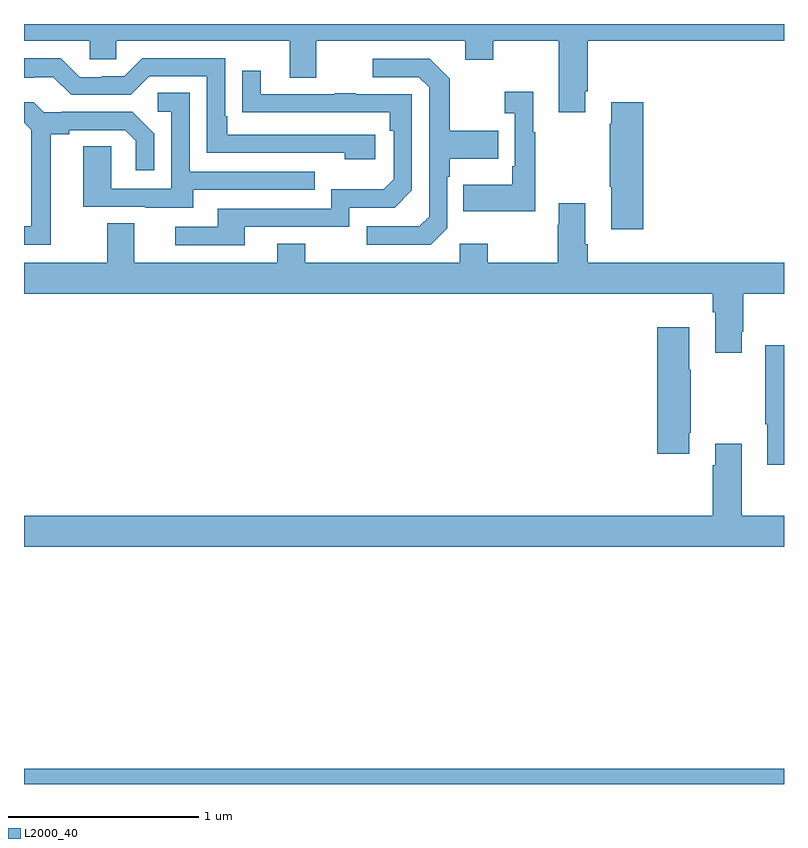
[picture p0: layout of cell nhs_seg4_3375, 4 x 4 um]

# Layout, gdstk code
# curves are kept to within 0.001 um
import gdstk
lib = gdstk.Library(unit=1e-6, precision=1e-09)
def R(c, l, rs):  # rectangles x0, y0, x1, y1
    for r in rs: c.add(gdstk.rectangle(r[:2], r[2:], *l))
def P(c, l, *ps):  # polygons
    for p in ps: c.add(gdstk.Polygon(p, *l))
L2000_40 = (2000, 40)

nhs_seg4_3375 = lib.new_cell('nhs_seg4_3375')
R(nhs_seg4_3375, L2000_40, [(289,800.9,293,800.98)])
P(nhs_seg4_3375, L2000_40, [(291.955,804.547),(291.968,804.547),(291.968,804.812),(293,804.812),(293,804.9),(289,804.9),(289,804.812),(289.347,804.812),(289.347,804.714),(289.485,804.714),(289.485,804.812),(290.399,804.812),(290.399,804.618),(290.539,804.618),(290.539,804.812),(291.323,804.812),(291.323,804.713),(291.471,804.713),(291.471,804.812),(291.815,804.812),(291.815,804.435),(291.955,804.435)],
  [(290.848,804.318),(290.071,804.318),(290.071,804.415),(290.058,804.415),(290.058,804.72),(289.623,804.72),(289.527,804.624),(289.409,804.624),(289.409,804.621),(289.293,804.621),(289.193,804.721),(289,804.721),(289,804.617),(289.055,804.617),(289.055,804.621),(289.155,804.621),(289.248,804.528),(289.563,804.528),(289.659,804.624),(289.962,804.624),(289.962,804.222),(290.687,804.222),(290.687,804.188),(290.848,804.188)],
  [(291.228,803.826),(291.228,804.095),(291.241,804.095),(291.241,804.191),(291.497,804.191),(291.497,804.339),(291.241,804.339),(291.241,804.611),(291.135,804.717),(290.835,804.717),(290.835,804.621),(291.078,804.621),(291.132,804.567),(291.132,803.886),(291.081,803.835),(290.805,803.835),(290.805,803.739),(291.141,803.739)],
  [(290.161,803.832),(290.712,803.832),(290.712,803.934),(290.952,803.934),(291.042,804.024),(291.042,804.531),(290.747,804.531),(290.747,804.536),(290.635,804.536),(290.635,804.531),(290.245,804.531),(290.245,804.655),(290.149,804.655),(290.149,804.436),(290.926,804.435),(290.926,804.338),(290.946,804.338),(290.946,804.084),(290.893,804.031),(290.616,804.031),(290.616,803.928),(290.021,803.928),(290.021,803.832),(289.797,803.832),(289.797,803.736),(290.161,803.736)],
  [(291.691,804.331),(291.679,804.331),(291.679,804.544),(291.531,804.544),(291.531,804.431),(291.582,804.431),(291.582,804.151),(291.57,804.151),(291.57,804.055),(291.313,804.055),(291.313,803.915),(291.691,803.915)],
  [(289.891,804.027),(290.531,804.027),(290.531,804.123),(289.872,804.123),(289.872,804.539),(289.704,804.539),(289.704,804.438),(289.776,804.438),(289.776,804.033),(289.458,804.033),(289.458,804.257),(289.313,804.257),(289.313,803.937),(289.637,803.937),(289.637,803.933),(289.891,803.933)],
  [(289.141,804.32),(289.237,804.32),(289.237,804.342),(289.532,804.342),(289.589,804.285),(289.589,804.129),(289.686,804.129),(289.686,804.322),(289.57,804.438),(289.198,804.438),(289.198,804.435),(289.104,804.435),(289.052,804.487),(289,804.487),(289,804.38),(289.037,804.343),(289.037,803.835),(289,803.835),(289,803.739),(289.141,803.739)],
  [(292.259,804.487),(292.091,804.487),(292.091,804.374),(292.084,804.374),(292.084,804.043),(292.091,804.043),(292.091,803.82),(292.259,803.82)],
  [(292.777,803.281),(292.785,803.281),(292.785,803.48),(293,803.48),(293,803.644),(291.968,803.644),(291.968,803.74),(291.955,803.74),(291.955,803.956),(291.815,803.956),(291.815,803.843),(291.808,803.843),(291.808,803.644),(291.441,803.644),(291.441,803.743),(291.294,803.743),(291.294,803.644),(290.481,803.644),(290.481,803.743),(290.333,803.743),(290.333,803.644),(289.579,803.644),(289.579,803.852),(289.439,803.852),(289.439,803.644),(289,803.644),(289,803.48),(292.625,803.48),(292.625,803.384),(292.637,803.384),(292.637,803.169),(292.777,803.169)],
  [(292.501,802.75),(292.509,802.75),(292.509,803.081),(292.501,803.081),(292.501,803.305),(292.334,803.305),(292.334,802.638),(292.501,802.638)],
  [(293,803.209),(292.902,803.209),(292.902,802.793),(292.913,802.793),(292.913,802.581),(293,802.581)],
  [(293,802.312),(292.777,802.312),(292.777,802.69),(292.637,802.69),(292.637,802.577),(292.625,802.577),(292.625,802.312),(289,802.312),(289,802.148),(293,802.148)])

lib.write_gds('nhs_seg4_3375.gds')
